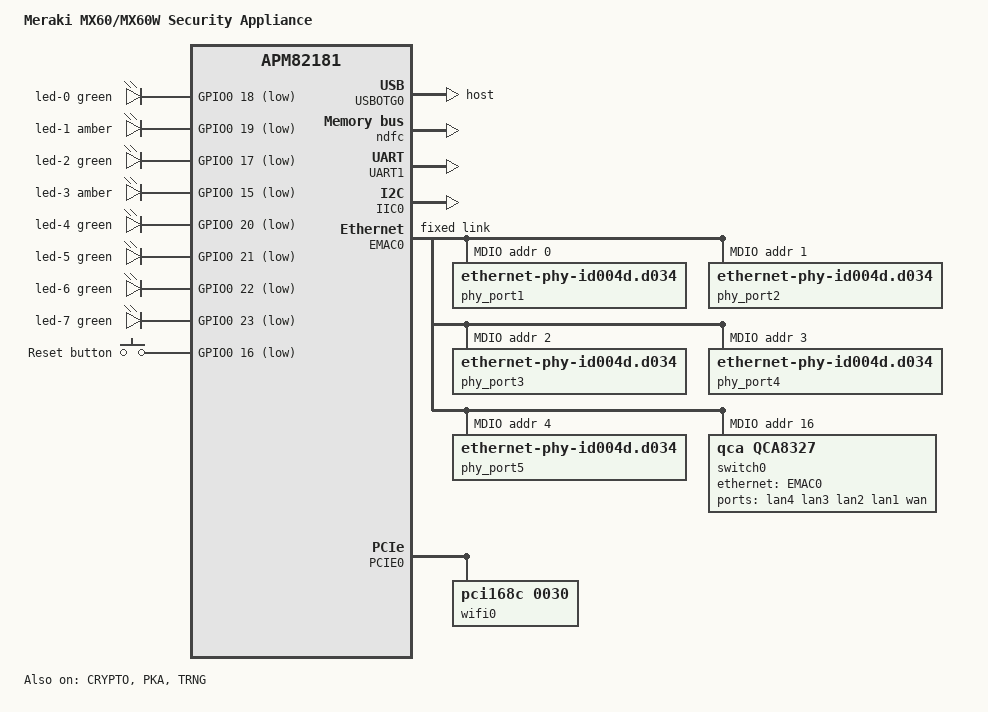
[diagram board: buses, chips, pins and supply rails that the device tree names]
// SPDX-License-Identifier: GPL-2.0-only
/*
 * Device Tree Source for Meraki MX60/MX60W (Buckminster)
 *
 * Copyright (C) 2016 Chris Blake <chrisrblake93@gmail.com>
 *
 * Based on Cisco Meraki DTS extracted from release wired-12-217818
 */

/dts-v1/;

#include <dt-bindings/leds/common.h>
#include "apm82181.dtsi"

/ {
	model = "Meraki MX60/MX60W Security Appliance";
	compatible = "meraki,mx60", "meraki,buckminster", "apm,bluestone";

	aliases {
		/* U-Boot env has a bad ethaddr MAC address that is sent to
		 * the kernel. The real MAC is in UBI */
		/delete-property/ ethernet0;
		serial0 = &UART1;
	};

	chosen {
		stdout-path = "/plb/opb/serial@ef600400";
	};
};

&CRYPTO {
	status = "okay";
};

&PKA {
	status = "okay";
};

&TRNG {
	status = "okay";
};

&USBOTG0 {
	status = "okay";
	dr_mode = "host";
};

&ndfc {
	/* Buckminster has 1GiB of NAND */
	status = "okay";

	nand {
		partitions {
			compatible = "fixed-partitions";
			#address-cells = <1>;
			#size-cells = <1>;

			partition@0 {
				label = "u-boot";
				reg = <0x00000000 0x00100000>;
				read-only;
			};

			partition@100000 {
				compatible = "fixed-partitions";
				reg = <0x00100000 0x00100000>;
				label = "u-boot-env";
				#address-cells = <1>;
				#size-cells = <1>;

				partition@0 {
					reg = <0x0 0x20000>;
					label = "u-boot-env-main";
					status = "disabled";

					nvmem-layout {
						compatible = "u-boot,env-redundant-count";
					};
				};

				partition@80000 {
					reg = <0x80000 0x20000>;
					label= "u-boot-env-redundant";
					status = "disabled";

					nvmem-layout {
						compatible = "u-boot,env-redundant-count";
					};
				};
			};

			partition@200000 {
				label = "oops";
				reg = <0x00200000 0x00040000>;
			};

			partition@240000 {
				compatible = "linux,ubi";
				label = "ubi";
				reg = <0x00240000 0x3fdc0000>;

				volumes {
					ubi-volume-board-config {
						volname = "board-config";

						nvmem-layout {
							compatible = "fixed-layout";
							#address-cells = <1>;
							#size-cells = <1>;

							macaddr_board_66: macaddr@66 {
								compatible = "mac-base";
								reg = <0x66 0x6>;
								#nvmem-cell-cells = <1>;
							};
						};
					};
				};
			};
		};
	};
};

&UART1 {
	status = "okay";
};

&GPIO0 {
	status = "okay";
};

&IIC0 {
	status = "okay";
};

&EMAC0 {
	status = "okay";

	nvmem-cells = <&macaddr_board_66 0>;
	nvmem-cell-names = "mac-address";

	fixed-link {
		speed = <1000>;
		full-duplex;
	};

	mdio {
		#address-cells = <1>;
		#size-cells = <0>;

		phy_port1: phy@0 {
			compatible = "ethernet-phy-id004d.d034";
			reg = <0>;
		};

		phy_port2: phy@1 {
			compatible = "ethernet-phy-id004d.d034";
			reg = <1>;
		};

		phy_port3: phy@2 {
			compatible = "ethernet-phy-id004d.d034";
			reg = <2>;
		};

		phy_port4: phy@3 {
			compatible = "ethernet-phy-id004d.d034";
			reg = <3>;
		};

		phy_port5: phy@4 {
			compatible = "ethernet-phy-id004d.d034";
			reg = <4>;
		};

		switch0@10 {
			compatible = "qca,qca8327";
			reg = <0x10>;

			ports {
				#address-cells = <1>;
				#size-cells = <0>;

				port@0 {
					reg = <0>;
					ethernet = <&EMAC0>;
					phy-mode = "rgmii-id";
					tx-internal-delay-ps = <2000>;

					fixed-link {
						speed = <1000>;
						full-duplex;
					};
				};

				port@1 {
					reg = <1>;
					label = "lan4";
					phy-mode = "internal";
					phy-handle = <&phy_port1>;

					leds {
						#address-cells = <1>;
						#size-cells = <0>;

						led@0 {
							reg = <0>;
							color = <LED_COLOR_ID_GREEN>;
							function = LED_FUNCTION_LAN;
							function-enumerator = <0>;
							default-state = "keep";
						};

						led@1 {
							reg = <1>;
							color = <LED_COLOR_ID_ORANGE>;
							function = LED_FUNCTION_LAN;
							function-enumerator = <1>;
							default-state = "keep";
						};

						led@2 {
							reg = <2>;
							color = <LED_COLOR_ID_GREEN>;
							function = LED_FUNCTION_LAN;
							function-enumerator = <2>;
							default-state = "keep";
						};
					};
				};

				port@2 {
					reg = <2>;
					label = "lan3";
					phy-mode = "internal";
					phy-handle = <&phy_port2>;

					leds {
						#address-cells = <1>;
						#size-cells = <0>;

						led@0 {
							reg = <0>;
							color = <LED_COLOR_ID_GREEN>;
							function = LED_FUNCTION_LAN;
							function-enumerator = <0>;
							default-state = "keep";
						};

						led@1 {
							reg = <1>;
							color = <LED_COLOR_ID_ORANGE>;
							function = LED_FUNCTION_LAN;
							function-enumerator = <1>;
							default-state = "keep";
						};

						led@2 {
							reg = <2>;
							color = <LED_COLOR_ID_GREEN>;
							function = LED_FUNCTION_LAN;
							function-enumerator = <2>;
							default-state = "keep";
						};
					};
				};

				port@3 {
					reg = <3>;
					label = "lan2";
					phy-mode = "internal";
					phy-handle = <&phy_port3>;

					leds {
						#address-cells = <1>;
						#size-cells = <0>;

						led@0 {
							reg = <0>;
							color = <LED_COLOR_ID_GREEN>;
							function = LED_FUNCTION_LAN;
							function-enumerator = <0>;
							default-state = "keep";
						};

						led@1 {
							reg = <1>;
							color = <LED_COLOR_ID_ORANGE>;
							function = LED_FUNCTION_LAN;
							function-enumerator = <1>;
							default-state = "keep";
						};

						led@2 {
							reg = <2>;
							color = <LED_COLOR_ID_GREEN>;
							function = LED_FUNCTION_LAN;
							function-enumerator = <2>;
							default-state = "keep";
						};
					};
				};

				port@4 {
					reg = <4>;
					label = "lan1";
					phy-mode = "internal";
					phy-handle = <&phy_port4>;

					leds {
						#address-cells = <1>;
						#size-cells = <0>;

						led@0 {
							reg = <0>;
							color = <LED_COLOR_ID_GREEN>;
							function = LED_FUNCTION_LAN;
							function-enumerator = <0>;
							default-state = "keep";
						};

						led@1 {
							reg = <1>;
							color = <LED_COLOR_ID_ORANGE>;
							function = LED_FUNCTION_LAN;
							function-enumerator = <1>;
							default-state = "keep";
						};

						led@2 {
							reg = <2>;
							color = <LED_COLOR_ID_GREEN>;
							function = LED_FUNCTION_LAN;
							function-enumerator = <2>;
							default-state = "keep";
						};
					};
				};

				port@5 {
					reg = <5>;
					label = "wan";
					phy-mode = "internal";
					phy-handle = <&phy_port5>;
					nvmem-cells = <&macaddr_board_66 1>;
					nvmem-cell-names = "mac-address";

					leds {
						#address-cells = <1>;
						#size-cells = <0>;

						led@0 {
							reg = <0>;
							color = <LED_COLOR_ID_GREEN>;
							function = LED_FUNCTION_WAN;
							function-enumerator = <0>;
							default-state = "keep";
						};

						led@1 {
							reg = <1>;
							color = <LED_COLOR_ID_ORANGE>;
							function = LED_FUNCTION_WAN;
							function-enumerator = <1>;
							default-state = "keep";
						};

						led@2 {
							reg = <2>;
							color = <LED_COLOR_ID_GREEN>;
							function = LED_FUNCTION_WAN;
							function-enumerator = <2>;
							default-state = "keep";
						};
					};
				};
			};
		};
	};
};

&POB0 {
	leds {
		compatible = "gpio-leds";

		led-0 {
			color = <LED_COLOR_ID_GREEN>;
			function = LED_FUNCTION_POWER;
			gpios = <&GPIO0 18 GPIO_ACTIVE_LOW>;
		};

		led-1 {
			color = <LED_COLOR_ID_AMBER>;
			function = LED_FUNCTION_FAULT;
			gpios = <&GPIO0 19 GPIO_ACTIVE_LOW>;
			panic-indicator;
		};

		led-2 {
			color = <LED_COLOR_ID_GREEN>;
			function = LED_FUNCTION_WAN;
			gpios = <&GPIO0 17 GPIO_ACTIVE_LOW>;
		};

		led-3 {
			color = <LED_COLOR_ID_AMBER>;
			function = LED_FUNCTION_WAN;
			gpios = <&GPIO0 15 GPIO_ACTIVE_LOW>;
		};

		led-4 {
			color = <LED_COLOR_ID_GREEN>;
			function = LED_FUNCTION_LAN;
			function-enumerator = <0>;
			gpios = <&GPIO0 20 GPIO_ACTIVE_LOW>;
		};

		led-5 {
			color = <LED_COLOR_ID_GREEN>;
			function = LED_FUNCTION_LAN;
			function-enumerator = <1>;
			gpios = <&GPIO0 21 GPIO_ACTIVE_LOW>;
		};

		led-6 {
			color = <LED_COLOR_ID_GREEN>;
			function = LED_FUNCTION_LAN;
			function-enumerator = <2>;
			gpios = <&GPIO0 22 GPIO_ACTIVE_LOW>;
		};

		led-7 {
			color = <LED_COLOR_ID_GREEN>;
			function = LED_FUNCTION_LAN;
			function-enumerator = <3>;
			gpios = <&GPIO0 23 GPIO_ACTIVE_LOW>;
		};
	};

	keys {
		compatible = "gpio-keys";

		button-restart {
			label = "Reset button";
			linux,code = <KEY_RESTART>;
			gpios = <&GPIO0 16 GPIO_ACTIVE_LOW>;
			interrupt-parent = <&UIC1>;
			interrupts = <0x15 IRQ_TYPE_EDGE_FALLING>;
			debounce-interval = <60>;
		};
	};
};

&PCIE0 {
	/* Leave this enabled as u-boot on the MX60 will disable it for us */
	status = "okay";

	/*
	 * relevant lspci topology:
	 *
	 *	-+-[0000:40]---00.0-[41-7f]----00.0
	 */

	bridge@0,0 {
		reg = <0x00400000 0 0 0 0>;
		#address-cells = <3>;
		#size-cells = <2>;
		ranges;

		wifi0: wifi@0,0 {
			/* Atheros AR9380 2.4/5GHz */
			compatible = "pci168c,0030";
			reg = <0x00410000 0 0 0 0>;
			interrupts = <1>; /* INTA */
		};
	};
};
